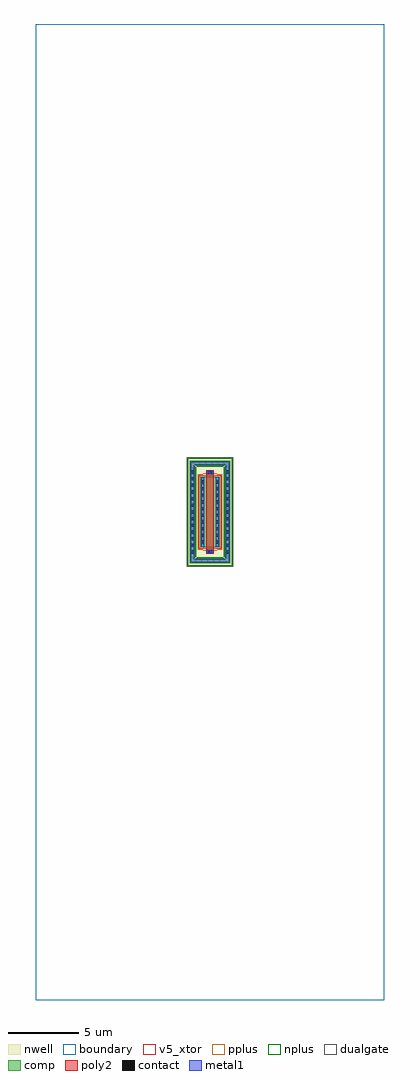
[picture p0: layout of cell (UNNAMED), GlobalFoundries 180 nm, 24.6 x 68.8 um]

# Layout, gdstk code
import gdstk
lib = gdstk.Library(unit=1e-6, precision=1e-09)
def R(c, l, rs):  # rectangles x0, y0, x1, y1
    for r in rs: c.add(gdstk.rectangle(r[:2], r[2:], *l))
def A(c, l, x, y, w, h, nx, ny, dx, dy):  # array of equal rectangles
    R(c, l, [(x+i*dx, y+j*dy, x+i*dx+w, y+j*dy+h) for i in range(nx) for j in range(ny)])
boundary = (0, 0)
nwell = (21, 0)
comp = (22, 0)
poly2 = (30, 0)
pplus = (31, 0)
nplus = (32, 0)
contact = (33, 0)
metal1 = (34, 0)
dualgate = (55, 0)
v5_xtor = (112, 1)

c__unnamed_ = lib.new_cell('(UNNAMED)')
R(c__unnamed_, boundary, [(-12.3,-34.4,12.3,34.4)])
R(c__unnamed_, nwell, [(-1.57,-3.78,1.57,3.78)])
R(c__unnamed_, comp, [(-1.41,-3.62,1.41,-3.26), (-1.41,-3.26,-1.05,3.26), (1.05,-3.26,1.41,3.26), (-0.69,-2.5,0.69,2.5), (-1.41,3.26,1.41,3.62)])
R(c__unnamed_, poly2, [(-0.25,-2.96,0.25,2.96)])
R(c__unnamed_, pplus, [(-0.48,-2.73,0.48,-2.66), (-0.85,-2.66,0.85,2.66), (-0.48,2.66,0.48,2.73)])
R(c__unnamed_, nplus, [(-1.57,-3.78,1.57,-3.19), (-1.57,-3.19,-0.98,3.19), (0.98,-3.19,1.57,3.19), (-1.57,3.19,1.57,3.78)])
A(c__unnamed_, contact, -1.34, -2.93, 0.22, 0.22, 1, 13, 0, 0.47)
A(c__unnamed_, contact, 1.12, -2.93, 0.22, 0.22, 1, 13, 0, 0.47)
A(c__unnamed_, contact, -0.62, -2.225, 0.22, 0.22, 1, 10, 0, 0.47)
A(c__unnamed_, contact, 0.4, -2.225, 0.22, 0.22, 1, 10, 0, 0.47)
R(c__unnamed_, contact, [(-0.11,-2.89,0.11,-2.67), (-0.11,2.67,0.11,2.89)])
R(c__unnamed_, metal1, [(-1.345,-3.555,1.345,-3.325), (-1.345,-3.325,-1.115,3.325), (1.115,-3.325,1.345,3.325), (-0.24,-2.895,0.24,-2.665), (-0.625,-2.49,-0.395,2.49), (0.395,-2.49,0.625,2.49), (-0.24,2.665,0.24,2.895), (-1.345,3.325,1.345,3.555)])
R(c__unnamed_, dualgate, [(-1.65,-3.86,1.65,3.86)])
R(c__unnamed_, v5_xtor, [(-0.79,-2.6,0.79,2.6)])

lib.write_gds('_UNNAMED_.gds')
